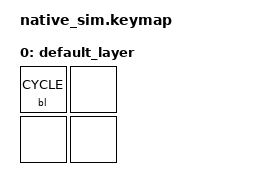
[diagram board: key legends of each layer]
#include <behaviors.dtsi>
#include <dt-bindings/zmk/keys.h>
#include <dt-bindings/zmk/input_mock.h>
#include <dt-bindings/zmk/backlight.h>

/ {
    chosen {
        zmk,backlight = &backlight;
    };

    backlight: leds {
        compatible = "gpio-leds";
        led_0 {
            gpios = <&gpio0 0 GPIO_ACTIVE_HIGH>;
        };
        led_1 {
            gpios = <&gpio0 1 GPIO_ACTIVE_HIGH>;
        };
    };

    keymap {
        compatible = "zmk,keymap";

        default_layer {
            bindings = <
                &bl BL_CYCLE &none
                &none        &none
            >;
        };
    };
};

&mock_input {
    events = <
        /* BL_CYCLE */
        ZMK_INPUT_MOCK_PRESS(0,0,10)
        ZMK_INPUT_MOCK_RELEASE(0,0,10)
        /* BL_CYCLE */
        ZMK_INPUT_MOCK_PRESS(0,0,10)
        ZMK_INPUT_MOCK_RELEASE(0,0,10)
        /* BL_CYCLE */
        ZMK_INPUT_MOCK_PRESS(0,0,10)
        ZMK_INPUT_MOCK_RELEASE(0,0,10)
        /* BL_CYCLE */
        ZMK_INPUT_MOCK_PRESS(0,0,10)
        ZMK_INPUT_MOCK_RELEASE(0,0,10)
        /* BL_CYCLE */
        ZMK_INPUT_MOCK_PRESS(0,0,10)
        ZMK_INPUT_MOCK_RELEASE(0,0,10)
        /* BL_CYCLE */
        ZMK_INPUT_MOCK_PRESS(0,0,10)
        ZMK_INPUT_MOCK_RELEASE(0,0,10)
        /* BL_CYCLE */
        ZMK_INPUT_MOCK_PRESS(0,0,10)
        ZMK_INPUT_MOCK_RELEASE(0,0,10)
        /* BL_CYCLE */
        ZMK_INPUT_MOCK_PRESS(0,0,10)
        ZMK_INPUT_MOCK_RELEASE(0,0,10)
        /* BL_CYCLE */
        ZMK_INPUT_MOCK_PRESS(0,0,10)
        ZMK_INPUT_MOCK_RELEASE(0,0,10)
        /* BL_CYCLE */
        ZMK_INPUT_MOCK_PRESS(0,0,10)
        ZMK_INPUT_MOCK_RELEASE(0,0,10)
        /* BL_CYCLE */
        ZMK_INPUT_MOCK_PRESS(0,0,10)
        ZMK_INPUT_MOCK_RELEASE(0,0,10)
        /* BL_CYCLE */
        ZMK_INPUT_MOCK_PRESS(0,0,10)
        ZMK_INPUT_MOCK_RELEASE(0,0,10)
        /* BL_CYCLE */
        ZMK_INPUT_MOCK_PRESS(0,0,10)
        ZMK_INPUT_MOCK_RELEASE(0,0,10)
    >;
};
